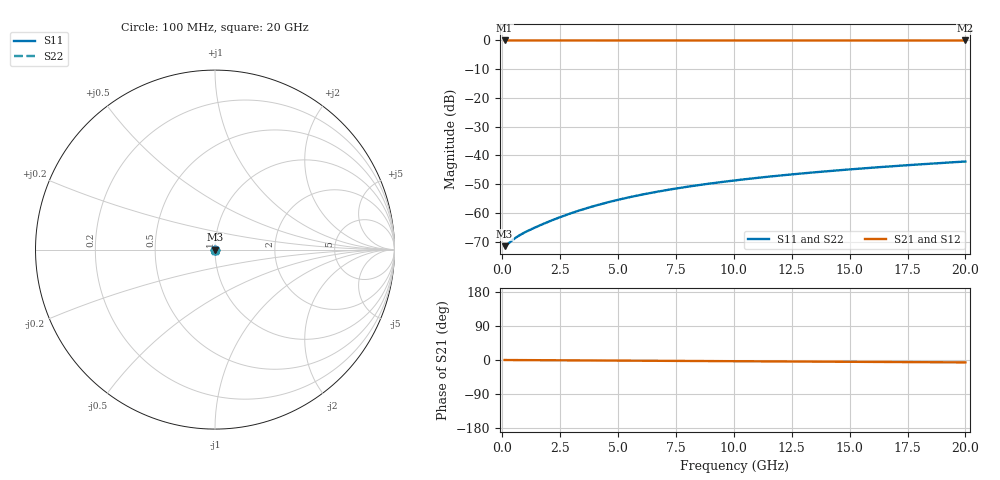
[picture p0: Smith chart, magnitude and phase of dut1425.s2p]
! Touchstone file exported from HFSS 2026.1.0
!  File:  C:/ffzhzh/LocalFiles/Ansys_Project_Files/temp_train_TSV_1425_1783197352_51560.aedt
!  Generated:  04:37:24 AM Jul  5, 2026
!  Design:  TSV
!  Project:  temp_train_TSV_1425_1783197352_51560
! Variables:
!  h_bsmrdl = 2um
!  h_ox = 20um
!  h_rdl = 5um
!  h_sub = 66.25um
!  h_tmrdl = 5um
!  h_tsv = 66.25um
!  h_via = 3um
!  l_bsmrdl = 300um
!  l_sub = 411.66um
!  l_tmrdl = 200um
!  m_sub = 200um
!  pitch = 22.11um
!  r_tsv = 5.83um
!  s_tmrdl = 10um
!  w_bsmrdl = 18um
!  w_sub = 500um
!  w_tmrdl = 12um
!  x_tsv_center1 = 206um
!  x_tsv_center2 = 524um
!  x_tsv_center3 = 736um
!  x_tsv_center4 = 1054um
!  x_tsv_center5 = 1266um
!  x_tsv_center6 = 1584um
# GHz S MA R 50.000000
! Terminal data exported
! Port[1] = TSV1_1_T1
! Port[2] = TSV1_1_T2
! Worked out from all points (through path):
!   200 points, 100 MHz to 20 GHz, reference 50 ohm
!   highest |S21| = 0.00 dB at 100 MHz (marker M1); lowest = 0.0 dB at 20 GHz (marker M2)
!   lowest |S11| = -71.5 dB at 100 MHz (marker M3), VSWR 1.00, Z = 50 + j0.00117 ohm
!   |S11| at or under -10 dB: start of sweep to end of sweep
!   |S22| runs from -71.5 to -42.1 dB; largest |S21 - S12| = 5.3e-15
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0.1  0.0002653 2.5  0.9997 -0.0  0.9997 -0.0  0.0002653 2.5
! Gamma 0 0 0 0
! Port Impedance 50 0 50 0
0.2  0.0002817 3.7  0.9997 -0.1  0.9997 -0.1  0.0002817 3.7
0.4  0.0003288 1.4  0.9997 -0.1  0.9997 -0.1  0.0003288 1.4
0.6  0.0003774 -4.5  0.9996 -0.2  0.9996 -0.2  0.0003774 -4.5
0.9  0.0004448 -14.2  0.9996 -0.3  0.9996 -0.3  0.0004448 -14.2
1.2  0.000511 -22.7  0.9995 -0.4  0.9995 -0.4  0.000511 -22.7
1.7  0.0006294 -33.5  0.9995 -0.6  0.9995 -0.6  0.0006294 -33.5
2.3  0.00079 -42.3  0.9994 -0.7  0.9994 -0.7  0.00079 -42.3
2.9  0.0009692 -48.3  0.9993 -0.9  0.9993 -0.9  0.0009692 -48.3
3.5  0.001164 -52.8  0.9993 -1.1  0.9993 -1.1  0.001164 -52.8
4.2  0.001406 -56.8  0.9992 -1.4  0.9992 -1.4  0.001406 -56.8
5  0.001697 -60.4  0.9991 -1.6  0.9991 -1.6  0.001697 -60.4
5.9  0.002039 -63.7  0.999 -1.9  0.999 -1.9  0.002039 -63.7
6.8  0.002389 -66.4  0.999 -2.2  0.999 -2.2  0.002389 -66.4
7.5  0.002666 -68.2  0.9989 -2.4  0.9989 -2.4  0.002666 -68.2
8.3  0.002986 -70.0  0.9988 -2.6  0.9988 -2.6  0.002986 -70.0
10.1  0.003713 -73.3  0.9987 -3.2  0.9987 -3.2  0.003713 -73.3
11.7  0.004366 -75.7  0.9986 -3.7  0.9986 -3.7  0.004366 -75.7
13.4  0.005066 -77.7  0.9985 -4.2  0.9985 -4.2  0.005066 -77.7
15  0.005731 -79.3  0.9985 -4.7  0.9985 -4.7  0.005731 -79.3
16.7  0.006445 -80.8  0.9984 -5.3  0.9984 -5.3  0.006445 -80.8
20  0.007861 -83.1  0.9982 -6.3  0.9982 -6.3  0.007861 -83.2
